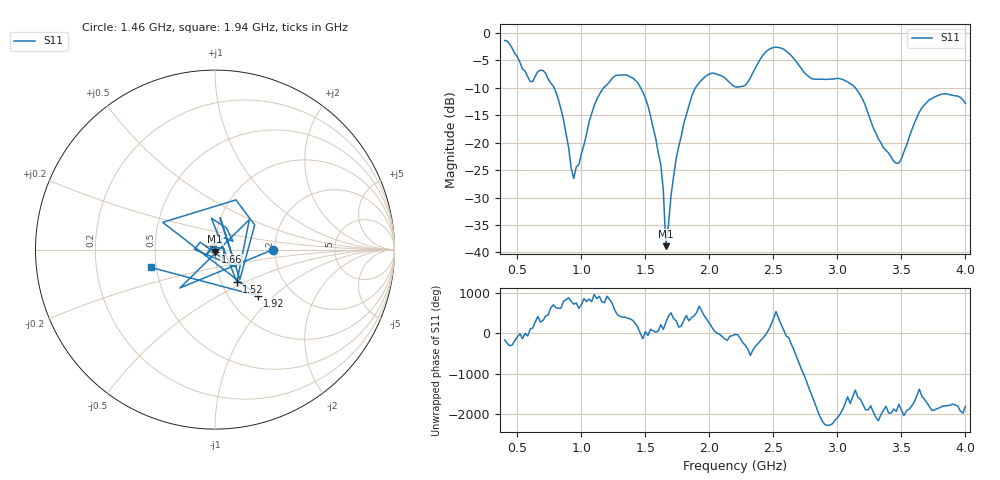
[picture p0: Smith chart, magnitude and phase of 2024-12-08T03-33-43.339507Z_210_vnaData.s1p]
!Created with skrf (http://scikit-rf.org).
# Hz S RI R 50.0
!freq ReS11 ImS11
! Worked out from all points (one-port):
!   181 points, 400 MHz to 4 GHz, reference 50 ohm
!   lowest |S11| = -38.9 dB at 1.66 GHz (marker M1), VSWR 1.02, Z = 50 - j1.14 ohm
!   |S11| at or under -10 dB: 786.1 MHz to 1.175 GHz (388.4 MHz wide, 39.6 % of centre); 1.463 GHz to 1.891 GHz (428.8 MHz wide, 25.6 % of centre); 3.14 GHz to end of sweep
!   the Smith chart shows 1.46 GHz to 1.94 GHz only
!   S11 on the Smith chart (normalised r, x): 1.46 GHz: 1.94, -0.01; 1.52 GHz: 1.19, -0.45; 1.66 GHz: 1.00, -0.02; 1.92 GHz: 1.36, -0.80; 1.94 GHz: 0.46, -0.11
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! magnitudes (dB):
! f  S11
! 400 MHz  -1.4
! 600 MHz  -8.9
! 720 MHz  -7.3
! 860 MHz  -15.8
! 940 MHz  -26.5
! 1.12 GHz  -12.1
! 1.3 GHz  -7.7
! 1.46 GHz  -9.9
! 1.52 GHz  -13.3
! 1.62 GHz  -24.0
! 1.64 GHz  -28.7
! 1.66 GHz  -38.9
! 1.7 GHz  -29.7
! 1.76 GHz  -20.7
! 1.86 GHz  -11.7
! 1.92 GHz  -9.1
! 1.94 GHz  -8.6
! 2.2 GHz  -9.8
! 2.28 GHz  -9.5
! 2.48 GHz  -2.8
! 2.66 GHz  -4.7
! 2.8 GHz  -8.3
! 3.1 GHz  -9.2
! 3.44 GHz  -23.4
! 3.48 GHz  -23.7
! 3.56 GHz  -19.1
! 3.72 GHz  -12.1
! 4 GHz  -12.9
